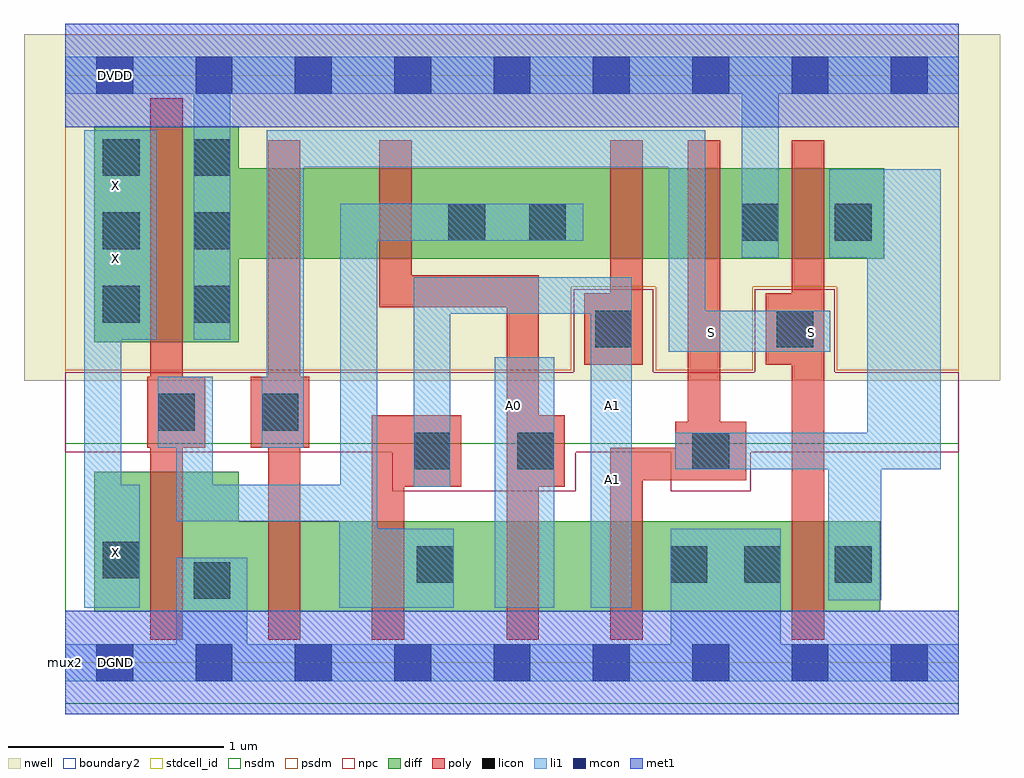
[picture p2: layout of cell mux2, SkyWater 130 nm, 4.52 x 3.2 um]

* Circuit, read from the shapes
.subckt mux2 A0 A1 DGND DVDD S X
XM1 DGND n1 X VSUBS sky130_fd_pr__nfet_01v8 w=0.65 l=0.15
XM2 n2 S DGND VSUBS sky130_fd_pr__nfet_01v8 w=0.42 l=0.15
XM3 n1 A1 n2 VSUBS sky130_fd_pr__nfet_01v8 w=0.42 l=0.15
XM4 n3 A0 n1 VSUBS sky130_fd_pr__nfet_01v8 w=0.42 l=0.15
XM5 DGND n4 n3 VSUBS sky130_fd_pr__nfet_01v8 w=0.42 l=0.15
XM6 n4 S DGND VSUBS sky130_fd_pr__nfet_01v8 w=0.42 l=0.15
XM7 DVDD n1 X n5 sky130_fd_pr__pfet_01v8 w=1 l=0.15
XM8 n6 S DVDD n5 sky130_fd_pr__pfet_01v8 w=0.42 l=0.15
XM9 n1 A0 n6 n5 sky130_fd_pr__pfet_01v8 w=0.42 l=0.15
XM10 n7 A1 n1 n5 sky130_fd_pr__pfet_01v8 w=0.42 l=0.15
XM11 DVDD n4 n7 n5 sky130_fd_pr__pfet_01v8 w=0.42 l=0.15
XM12 n4 S DVDD n5 sky130_fd_pr__pfet_01v8 w=0.42 l=0.15
.ends

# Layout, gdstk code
import gdstk
lib = gdstk.Library(unit=1e-6, precision=1e-09)
def R(c, l, rs):  # rectangles x0, y0, x1, y1
    for r in rs: c.add(gdstk.rectangle(r[:2], r[2:], *l))
def A(c, l, x, y, w, h, nx, ny, dx, dy):  # array of equal rectangles
    R(c, l, [(x+i*dx, y+j*dy, x+i*dx+w, y+j*dy+h) for i in range(nx) for j in range(ny)])
def P(c, l, *ps):  # polygons
    for p in ps: c.add(gdstk.Polygon(p, *l))
nwell = (64, 20)
diff = (65, 20)
poly = (66, 20)
licon = (66, 44)
li1 = (67, 20)
mcon = (67, 44)
met1 = (68, 20)
stdcell_id = (81, 4)
nsdm = (93, 44)
psdm = (94, 20)
npc = (95, 20)
boundary2 = (236, 0)

mux2 = lib.new_cell('mux2')
R(mux2, nwell, [(-0.19,1.305,4.33,2.91)])
P(mux2, diff, [(0.135,0.235),(0.135,0.885),(0.805,0.885),(0.805,0.655),(3.775,0.655),(3.775,0.235)],
  [(0.135,1.485),(0.135,2.485),(0.805,2.485),(0.805,2.29),(3.795,2.29),(3.795,1.87),(0.805,1.87),(0.805,1.485)])
P(mux2, poly, [(0.395,0.105),(0.395,0.995),(0.38,0.995),(0.38,1.325),(0.395,1.325),(0.395,2.615),(0.545,2.615),(0.545,1.325),(0.65,1.325),(0.65,0.995),(0.545,0.995),(0.545,0.105)],
  [(0.94,0.105),(0.94,0.995),(0.86,0.995),(0.86,1.325),(0.94,1.325),(0.94,2.42),(1.09,2.42),(1.09,1.325),(1.13,1.325),(1.13,0.995),(1.09,0.995),(1.09,0.105)],
  [(3.365,0.105),(3.365,1.38),(3.245,1.38),(3.245,1.71),(3.365,1.71),(3.365,2.42),(3.515,2.42),(3.515,0.105)],
  [(2.525,0.105),(2.525,0.995),(2.825,0.995),(2.825,1.115),(2.885,1.115),(2.885,2.42),(3.035,2.42),(3.035,1.115),(3.155,1.115),(3.155,0.845),(2.675,0.845),(2.675,0.105)],
  [(2.405,1.38),(2.405,1.71),(2.525,1.71),(2.525,2.42),(2.675,2.42),(2.675,1.38)],
  [(1.42,0.105),(1.42,1.145),(1.835,1.145),(1.835,0.815),(1.57,0.815),(1.57,0.105)],
  [(2.045,0.105),(2.045,1.645),(1.455,1.645),(1.455,2.42),(1.605,2.42),(1.605,1.795),(2.195,1.795),(2.195,1.145),(2.315,1.145),(2.315,0.815),(2.195,0.815),(2.195,0.105)])
A(mux2, licon, 0.175, 1.575, 0.17, 0.17, 1, 3, 0, 0.34)
A(mux2, licon, 0.595, 1.575, 0.17, 0.17, 1, 3, 0, 0.34)
R(mux2, licon, [(0.595,0.295,0.765,0.465), (1.63,0.37,1.8,0.54), (2.805,0.37,2.975,0.54), (3.145,0.37,3.315,0.54), (3.565,0.37,3.735,0.54), (0.175,0.39,0.345,0.56), (1.615,0.895,1.785,1.065), (2.095,0.895,2.265,1.065), (2.905,0.895,3.075,1.065), (0.43,1.075,0.6,1.245), (0.91,1.075,1.08,1.245), (2.455,1.46,2.625,1.63), (3.295,1.46,3.465,1.63), (1.775,1.955,1.945,2.125), (2.15,1.955,2.32,2.125), (3.135,1.955,3.305,2.125), (3.565,1.955,3.735,2.125)])
R(mux2, li1, [(1.99,0.255,2.265,1.415)])
P(mux2, li1, [(0,-0.085),(0,0.085),(0.515,0.085),(0.515,0.485),(0.845,0.485),(0.845,0.085),(2.805,0.085),(2.805,0.62),(3.315,0.62),(3.315,0.085),(4.14,0.085),(4.14,-0.085)],
  [(0.595,1.495),(0.595,2.635),(0,2.635),(0,2.805),(4.14,2.805),(4.14,2.635),(3.305,2.635),(3.305,1.875),(3.135,1.875),(3.135,2.635),(0.765,2.635),(0.765,1.495)],
  [(0.09,0.255),(0.09,2.465),(0.425,2.465),(0.425,1.495),(0.26,1.495),(0.26,0.825),(0.345,0.825),(0.345,0.255)],
  [(1.27,0.255),(1.27,0.655),(0.515,0.655),(0.515,0.995),(0.43,0.995),(0.43,1.325),(0.685,1.325),(0.685,0.825),(1.275,0.825),(1.275,2.125),(2.4,2.125),(2.4,1.955),(1.445,1.955),(1.445,0.62),(1.8,0.62),(1.8,0.255)],
  [(2.435,0.255),(2.435,1.615),(1.785,1.615),(1.785,0.815),(1.615,0.815),(1.615,1.785),(2.625,1.785),(2.625,0.255)],
  [(0.91,0.995),(0.91,1.325),(0.935,1.325),(0.935,2.465),(2.965,2.465),(2.965,1.63),(3.545,1.63),(3.545,1.44),(2.795,1.44),(2.795,2.295),(1.105,2.295),(1.105,0.995)],
  [(3.535,0.29),(3.535,0.895),(2.825,0.895),(2.825,1.065),(3.715,1.065),(3.715,1.875),(3.54,1.875),(3.54,2.285),(4.055,2.285),(4.055,0.895),(3.78,0.895),(3.78,0.29)])
A(mux2, mcon, 0.145, -0.085, 0.17, 0.17, 9, 2, 0.46, 2.72)
R(mux2, stdcell_id, [(0,0,4.14,2.72)])
R(mux2, nsdm, [(0,-0.19,4.14,1.015)])
P(mux2, psdm, [(0,1.355),(0,2.91),(4.14,2.91),(4.14,1.355),(3.575,1.355),(3.575,1.74),(3.185,1.74),(3.185,1.355),(2.735,1.355),(2.735,1.74),(2.345,1.74),(2.345,1.355)])
P(mux2, npc, [(1.515,0.795),(1.515,0.975),(0,0.975),(0,1.345),(2.355,1.345),(2.355,1.73),(2.725,1.73),(2.725,1.345),(3.195,1.345),(3.195,1.73),(3.565,1.73),(3.565,1.345),(4.14,1.345),(4.14,0.975),(3.175,0.975),(3.175,0.795),(2.805,0.795),(2.805,0.975),(2.365,0.975),(2.365,0.795)])
R(mux2, boundary2, [(0,0,4.14,2.72)])
mux2.add(gdstk.FlexPath([(0,2.72),(4.14,2.72)], 0.48, ends="flush", simple_path=True, layer=68, datatype=20))  # met1
mux2.add(gdstk.FlexPath([(0,0),(4.14,0)], 0.48, ends="flush", simple_path=True, layer=68, datatype=20))  # met1
mux2.add(gdstk.Label('mux2', (0,0), layer=83, texttype=44))
mux2.add(gdstk.Label('DVDD', (0.235,2.72), layer=68, texttype=5))
mux2.add(gdstk.Label('DGND', (0.235,0), layer=68, texttype=5))
mux2.add(gdstk.Label('S', (3.455,1.53), layer=67, texttype=5))
mux2.add(gdstk.Label('S', (2.995,1.53), layer=67, texttype=5))
mux2.add(gdstk.Label('A1', (2.535,0.85), layer=67, texttype=5))
mux2.add(gdstk.Label('A1', (2.535,1.19), layer=67, texttype=5))
mux2.add(gdstk.Label('A0', (2.075,1.19), layer=67, texttype=5))
mux2.add(gdstk.Label('X', (0.235,0.51), layer=67, texttype=5))
mux2.add(gdstk.Label('X', (0.235,1.87), layer=67, texttype=5))
mux2.add(gdstk.Label('X', (0.235,2.21), layer=67, texttype=5))

lib.write_gds('mux2.gds')
